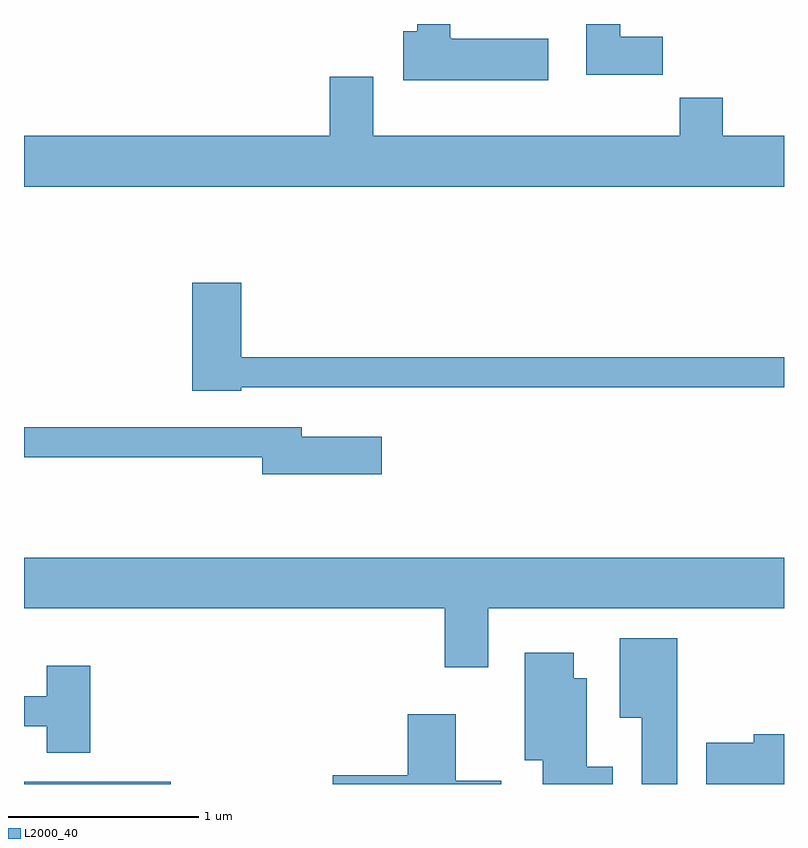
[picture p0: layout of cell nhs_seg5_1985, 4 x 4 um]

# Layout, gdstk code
import gdstk
lib = gdstk.Library(unit=1e-6, precision=1e-09)
def R(c, l, rs):  # rectangles x0, y0, x1, y1
    for r in rs: c.add(gdstk.rectangle(r[:2], r[2:], *l))
def P(c, l, *ps):  # polygons
    for p in ps: c.add(gdstk.Polygon(p, *l))
L2000_40 = (2000, 40)

nhs_seg5_1985 = lib.new_cell('nhs_seg5_1985')
R(nhs_seg5_1985, L2000_40, [(243.611,1478.072,244.384,1478.084)])
P(nhs_seg5_1985, L2000_40, [(246.369,1481.994),(245.86,1481.994),(245.86,1482),(245.854,1482),(245.854,1482.072),(245.681,1482.072),(245.681,1482.034),(245.606,1482.034),(245.606,1481.776),(246.369,1481.776)],
  [(246.974,1482.004),(246.749,1482.004),(246.749,1482.072),(246.571,1482.072),(246.571,1481.806),(246.974,1481.806)],
  [(247.611,1481.484),(247.289,1481.484),(247.289,1481.684),(247.061,1481.684),(247.061,1481.484),(245.449,1481.484),(245.449,1481.794),(245.221,1481.794),(245.221,1481.484),(243.611,1481.484),(243.611,1481.216),(247.611,1481.216)],
  [(244.754,1480.161),(247.611,1480.161),(247.611,1480.319),(244.754,1480.319),(244.754,1480.709),(244.496,1480.709),(244.496,1480.141),(244.754,1480.141)],
  [(245.494,1479.899),(245.074,1479.899),(245.074,1479.949),(243.611,1479.949),(243.611,1479.791),(244.866,1479.791),(244.866,1479.701),(245.494,1479.701)],
  [(246.054,1478.996),(247.611,1478.996),(247.611,1479.264),(243.611,1479.264),(243.611,1478.996),(245.826,1478.996),(245.826,1478.686),(246.054,1478.686)],
  [(247.049,1478.839),(246.746,1478.839),(246.746,1478.421),(246.861,1478.421),(246.861,1478.072),(247.049,1478.072)],
  [(246.709,1478.164),(246.574,1478.164),(246.574,1478.629),(246.504,1478.629),(246.504,1478.764),(246.246,1478.764),(246.246,1478.196),(246.341,1478.196),(246.341,1478.072),(246.709,1478.072)],
  [(243.959,1478.694),(243.731,1478.694),(243.731,1478.534),(243.611,1478.534),(243.611,1478.376),(243.731,1478.376),(243.731,1478.236),(243.959,1478.236)],
  [(246.124,1478.089),(245.884,1478.089),(245.884,1478.439),(245.631,1478.439),(245.631,1478.119),(245.236,1478.119),(245.236,1478.072),(246.124,1478.072)],
  [(247.611,1478.334),(247.451,1478.334),(247.451,1478.289),(247.201,1478.289),(247.201,1478.072),(247.611,1478.072)])

lib.write_gds('nhs_seg5_1985.gds')
